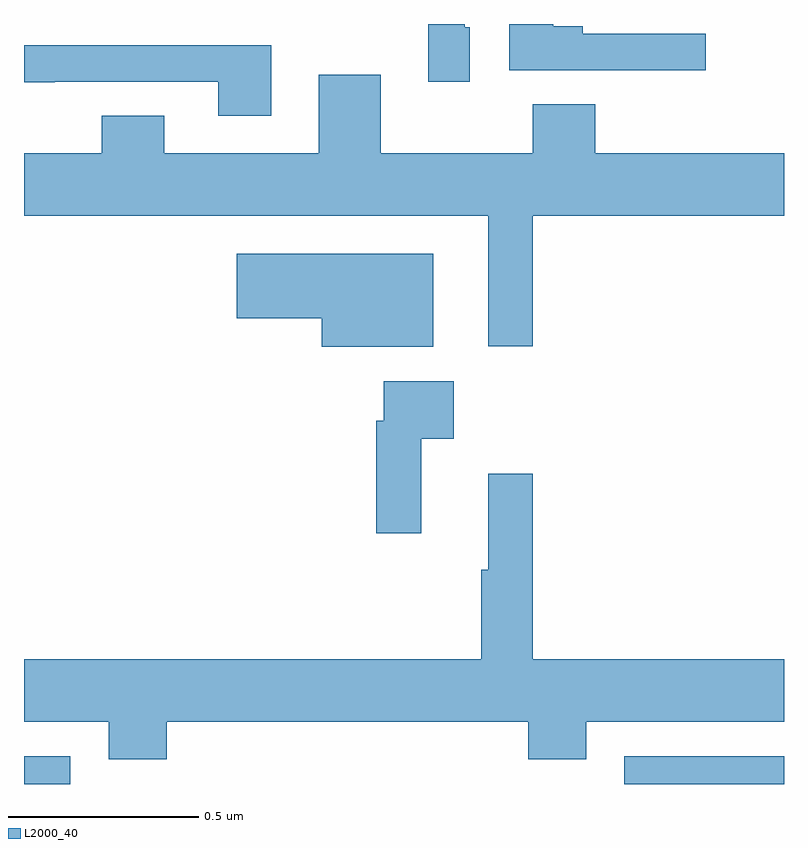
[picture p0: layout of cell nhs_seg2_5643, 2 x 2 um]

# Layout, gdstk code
import gdstk
lib = gdstk.Library(unit=1e-6, precision=1e-09)
def R(c, l, rs):  # rectangles x0, y0, x1, y1
    for r in rs: c.add(gdstk.rectangle(r[:2], r[2:], *l))
def P(c, l, *ps):  # polygons
    for p in ps: c.add(gdstk.Polygon(p, *l))
L2000_40 = (2000, 40)

nhs_seg2_5643 = lib.new_cell('nhs_seg2_5643')
R(nhs_seg2_5643, L2000_40, [(181,652.8,181.122,652.873), (182.58,652.8,183,652.873)])
P(nhs_seg2_5643, L2000_40, [(182.173,654.792),(182.16,654.792),(182.16,654.8),(182.064,654.8),(182.064,654.648),(182.173,654.648)],
  [(182.794,654.775),(182.47,654.775),(182.47,654.794),(182.393,654.794),(182.393,654.8),(182.277,654.8),(182.277,654.678),(182.794,654.678)],
  [(181.651,654.744),(181,654.744),(181,654.647),(181.081,654.647),(181.081,654.648),(181.511,654.648),(181.511,654.558),(181.651,654.558)],
  [(182.339,654.296),(183,654.296),(183,654.46),(182.503,654.46),(182.503,654.589),(182.339,654.589),(182.339,654.46),(181.939,654.46),(181.939,654.667),(181.775,654.667),(181.775,654.46),(181.369,654.46),(181.369,654.559),(181.205,654.559),(181.205,654.46),(181,654.46),(181,654.296),(182.222,654.296),(182.222,653.952),(182.339,653.952)],
  [(182.077,654.196),(181.56,654.196),(181.56,654.026),(181.784,654.026),(181.784,653.951),(182.077,653.951)],
  [(182.045,653.708),(182.131,653.708),(182.131,653.86),(181.947,653.86),(181.947,653.756),(181.927,653.756),(181.927,653.46),(182.045,653.46)],
  [(182.327,652.865),(182.479,652.865),(182.479,652.964),(183,652.964),(183,653.128),(182.339,653.128),(182.339,653.617),(182.222,653.617),(182.222,653.364),(182.203,653.364),(182.203,653.128),(181,653.128),(181,652.964),(181.223,652.964),(181.223,652.865),(181.376,652.865),(181.376,652.964),(182.327,652.964)])

lib.write_gds('nhs_seg2_5643.gds')
